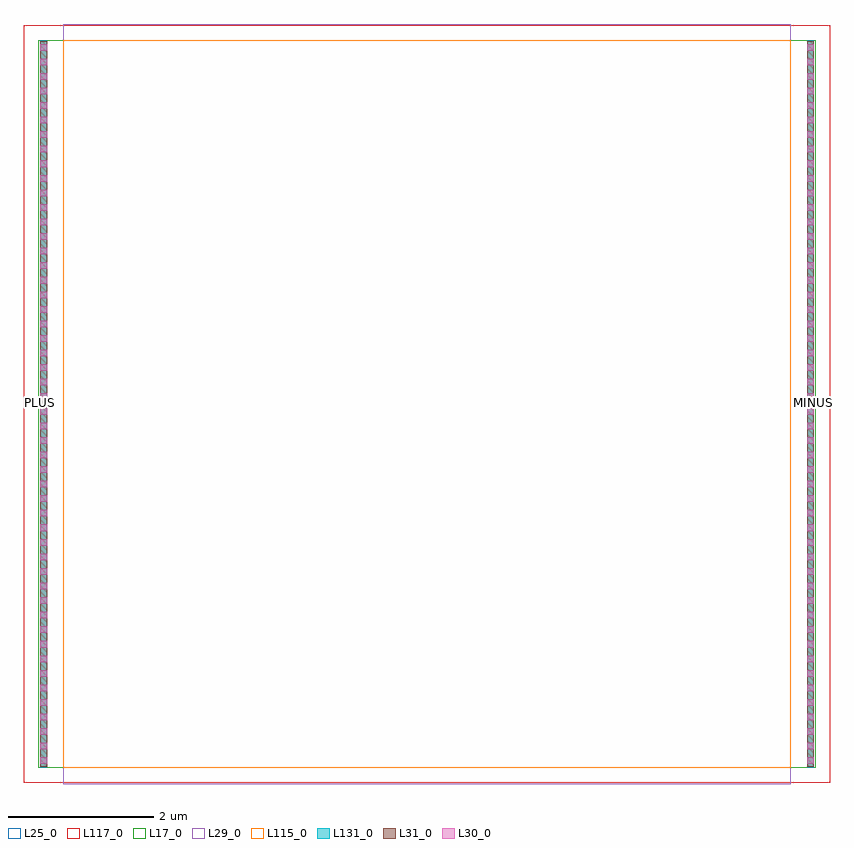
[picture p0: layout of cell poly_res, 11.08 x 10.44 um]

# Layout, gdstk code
import gdstk
lib = gdstk.Library(unit=1e-6, precision=1e-09)
def R(c, l, rs):  # rectangles x0, y0, x1, y1
    for r in rs: c.add(gdstk.rectangle(r[:2], r[2:], *l))
def A(c, l, x, y, w, h, nx, ny, dx, dy):  # array of equal rectangles
    R(c, l, [(x+i*dx, y+j*dy, x+i*dx+w, y+j*dy+h) for i in range(nx) for j in range(ny)])
L17_0 = (17, 0)
L25_0 = (25, 0)
L29_0 = (29, 0)
L30_0 = (30, 0)
L31_0 = (31, 0)
L115_0 = (115, 0)
L117_0 = (117, 0)
L131_0 = (131, 0)

poly_res = lib.new_cell('poly_res')
R(poly_res, L17_0, [(0.2,0.22,10.88,10.22)])
R(poly_res, L25_0, [(0,0.02,11.08,10.42)])
R(poly_res, L29_0, [(0.54,0,10.54,10.44)])
A(poly_res, L30_0, 0.23, 0.275, 0.09, 0.09, 1, 50, 0, 0.2)
A(poly_res, L30_0, 10.76, 0.275, 0.09, 0.09, 1, 50, 0, 0.2)
R(poly_res, L31_0, [(0.23,0.235,0.32,10.205), (10.76,0.235,10.85,10.205)])
R(poly_res, L115_0, [(0.54,0.22,10.54,10.22)])
R(poly_res, L117_0, [(0,0.02,11.08,10.42)])
R(poly_res, L131_0, [(0.23,0.22,0.32,10.22), (10.76,0.22,10.85,10.22)])
poly_res.add(gdstk.Label('PLUS', (0.23,5.235), layer=131, texttype=0))
poly_res.add(gdstk.Label('MINUS', (10.85,5.235), layer=131, texttype=0))

lib.write_gds('poly_res.gds')
